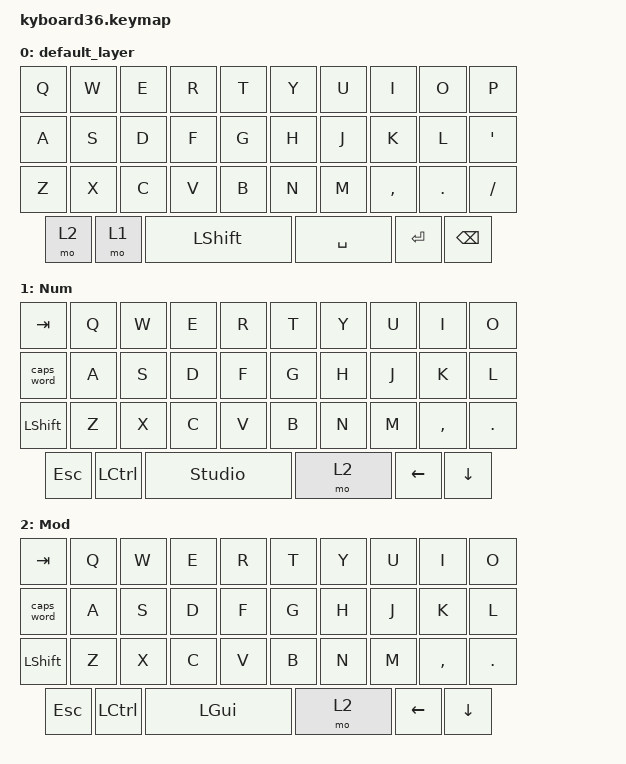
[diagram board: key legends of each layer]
/*
 * Copyright (c) 2021 The ZMK Contributors
 *
 * SPDX-License-Identifier: MIT
 */

#include <behaviors.dtsi>
#include <dt-bindings/zmk/bt.h>
#include <dt-bindings/zmk/keys.h>

#define DEFAULT 0
#define LOWER 1

/ {
    keymap {
        compatible = "zmk,keymap";

        default_layer {
    // | Q   | W   | E   | R   | T   | Y   | U   | I   | O   | P   | 
    // | A   | S   | D   | F   | G   | H   | J   | K   | L   | "   |
    // | Z   | X   | C   | V   | B   | N   | M   | ,   | .   | /   |
    // | NUM |  MOD|      |SHIFT|       |SPACE|        |ENTR |BCKSPC|
            bindings = <
&kp Q      &kp W     &kp E     &kp R      &kp T      &kp Y      &kp U  &kp I      &kp O     &kp P
&kp A      &kp S     &kp D     &kp F      &kp G      &kp H      &kp J  &kp K      &kp L     &kp SINGLE_QUOTE
&kp Z      &kp X     &kp C     &kp V      &kp B      &kp N      &kp M  &kp COMMA  &kp DOT   &kp SLASH
&mo 2     &mo 1                   &kp LSHIFT                 &kp SPACE            &kp ENTER  &kp BSPC
            >;
        };

        Num {
            bindings = <
&kp TAB     &kp Q      &kp W     &kp E     &kp R  &kp T      &kp Y      &kp U  &kp I      &kp O     
&caps_word  &kp A      &kp S     &kp D     &kp F  &kp G      &kp H      &kp J  &kp K      &kp L     
&kp LSHFT   &kp Z      &kp X     &kp C     &kp V  &kp B      &kp N      &kp M  &kp COMMA  &kp DOT   
&kp ESC     &kp LCTRL            &studio_unlock  &mo 2                               &kp LEFT   &kp DOWN  
            >;
        };

        Mod {
            bindings = <
&kp TAB     &kp Q      &kp W     &kp E     &kp R  &kp T      &kp Y      &kp U  &kp I      &kp O     
&caps_word  &kp A      &kp S     &kp D     &kp F  &kp G      &kp H      &kp J  &kp K      &kp L     
&kp LSHFT   &kp Z      &kp X     &kp C     &kp V  &kp B      &kp N      &kp M  &kp COMMA  &kp DOT   
&kp ESC     &kp LCTRL            &kp LGUI  &mo 2                               &kp LEFT   &kp DOWN           
            >;
        };
        extra1 {
            status = "reserved";
        };

        extra2 {
            status = "reserved";
        };
    };
};
